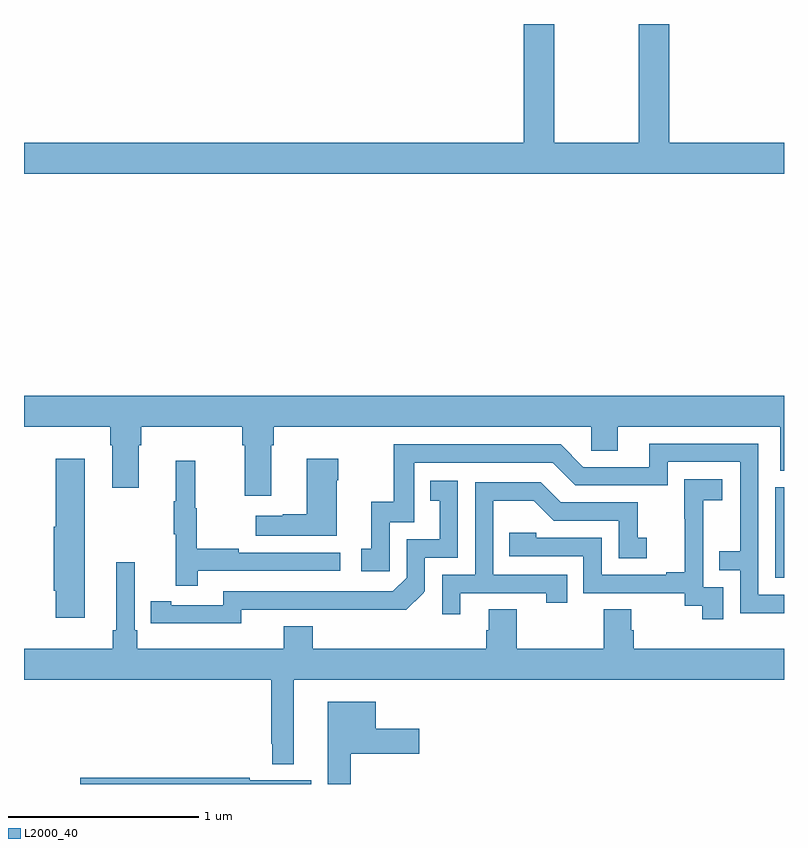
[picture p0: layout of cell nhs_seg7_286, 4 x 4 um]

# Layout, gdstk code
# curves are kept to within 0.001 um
import gdstk
lib = gdstk.Library(unit=1e-6, precision=1e-09)
def R(c, l, rs):  # rectangles x0, y0, x1, y1
    for r in rs: c.add(gdstk.rectangle(r[:2], r[2:], *l))
def P(c, l, *ps):  # polygons
    for p in ps: c.add(gdstk.Polygon(p, *l))
L2000_40 = (2000, 40)

nhs_seg7_286 = lib.new_cell('nhs_seg7_286')
R(nhs_seg7_286, L2000_40, [(134.955,1069.086,135,1069.563)])
P(nhs_seg7_286, L2000_40, [(135,1071.376),(134.396,1071.376),(134.396,1072),(134.236,1072),(134.236,1071.376),(133.791,1071.376),(133.791,1072),(133.631,1072),(133.631,1071.376),(131,1071.376),(131,1071.212),(135,1071.212)],
  [(132.301,1069.784),(132.314,1069.784),(132.314,1069.88),(133.986,1069.88),(133.986,1069.753),(134.125,1069.753),(134.125,1069.88),(134.981,1069.88),(134.981,1069.648),(135,1069.648),(135,1070.044),(131,1070.044),(131,1069.88),(131.453,1069.88),(131.453,1069.784),(131.465,1069.784),(131.465,1069.56),(131.605,1069.56),(131.605,1069.784),(131.618,1069.784),(131.618,1069.88),(132.149,1069.88),(132.149,1069.784),(132.161,1069.784),(132.161,1069.518),(132.301,1069.518)],
  [(135,1068.996),(134.865,1068.996),(134.865,1069.791),(134.291,1069.791),(134.291,1069.668),(133.944,1069.668),(133.824,1069.788),(132.945,1069.788),(132.945,1069.486),(132.827,1069.486),(132.827,1069.239),(132.774,1069.239),(132.774,1069.119),(132.924,1069.119),(132.924,1069.377),(133.053,1069.377),(133.053,1069.692),(133.782,1069.692),(133.902,1069.572),(134.388,1069.572),(134.388,1069.695),(134.769,1069.695),(134.769,1069.226),(134.659,1069.226),(134.659,1069.125),(134.769,1069.125),(134.769,1068.9),(135,1068.9)],
  [(132.646,1069.598),(132.654,1069.598),(132.654,1069.711),(132.488,1069.711),(132.488,1069.421),(132.362,1069.421),(132.362,1069.411),(132.219,1069.411),(132.219,1069.307),(132.646,1069.307)],
  [(131.32,1069.711),(131.167,1069.711),(131.167,1069.353),(131.156,1069.353),(131.156,1069.017),(131.167,1069.017),(131.167,1068.876),(131.32,1068.876)],
  [(131.915,1069.122),(132.664,1069.122),(132.664,1069.218),(132.131,1069.218),(132.131,1069.238),(131.908,1069.238),(131.908,1069.452),(131.9,1069.452),(131.9,1069.702),(131.798,1069.702),(131.798,1069.489),(131.787,1069.489),(131.787,1069.315),(131.798,1069.315),(131.798,1069.044),(131.915,1069.044)],
  [(134.679,1069.035),(134.574,1069.035),(134.574,1069.265),(134.576,1069.265),(134.576,1069.493),(134.674,1069.493),(134.674,1069.603),(134.476,1069.603),(134.476,1069.397),(134.477,1069.397),(134.477,1069.114),(134.381,1069.114),(134.381,1069.101),(134.04,1069.101),(134.04,1069.296),(133.695,1069.296),(133.695,1069.323),(133.555,1069.323),(133.555,1069.2),(133.944,1069.2),(133.944,1069.005),(134.478,1069.005),(134.478,1068.937),(134.571,1068.937),(134.571,1068.867),(134.679,1068.867)],
  [(132.144,1068.918),(133.012,1068.917),(133.11,1069.014),(133.11,1069.191),(133.284,1069.191),(133.284,1069.597),(133.138,1069.597),(133.138,1069.491),(133.187,1069.491),(133.187,1069.287),(133.014,1069.287),(133.014,1069.086),(132.942,1069.014),(132.048,1069.014),(132.048,1068.942),(131.776,1068.942),(131.776,1068.962),(131.668,1068.962),(131.668,1068.846),(132.144,1068.845)],
  [(133.297,1068.894),(133.297,1069.005),(133.748,1069.005),(133.748,1068.954),(133.859,1068.954),(133.859,1069.101),(133.47,1069.101),(133.47,1069.49),(133.684,1069.49),(133.788,1069.386),(134.13,1069.386),(134.13,1069.188),(134.278,1069.188),(134.278,1069.297),(134.229,1069.297),(134.229,1069.482),(133.825,1069.482),(133.72,1069.587),(133.374,1069.587),(133.374,1069.101),(133.2,1069.101),(133.2,1068.894)],
  [(132.421,1068.548),(135,1068.548),(135,1068.712),(134.21,1068.712),(134.21,1068.81),(134.197,1068.81),(134.197,1068.92),(134.05,1068.92),(134.05,1068.712),(133.593,1068.712),(133.593,1068.92),(133.445,1068.92),(133.445,1068.81),(133.433,1068.81),(133.433,1068.712),(132.521,1068.712),(132.521,1068.829),(132.368,1068.829),(132.368,1068.712),(131.597,1068.712),(131.597,1068.808),(131.583,1068.808),(131.583,1069.168),(131.486,1069.168),(131.486,1068.808),(131.467,1068.808),(131.467,1068.712),(131,1068.712),(131,1068.548),(132.3,1068.548),(132.3,1068.211),(132.306,1068.211),(132.306,1068.104),(132.421,1068.104)],
  [(132.721,1068.158),(133.081,1068.158),(133.081,1068.292),(132.85,1068.292),(132.85,1068.433),(132.599,1068.433),(132.599,1068),(132.721,1068)],
  [(132.511,1068.019),(132.188,1068.019),(132.188,1068.032),(131.297,1068.032),(131.297,1068),(132.511,1068)])

lib.write_gds('nhs_seg7_286.gds')
